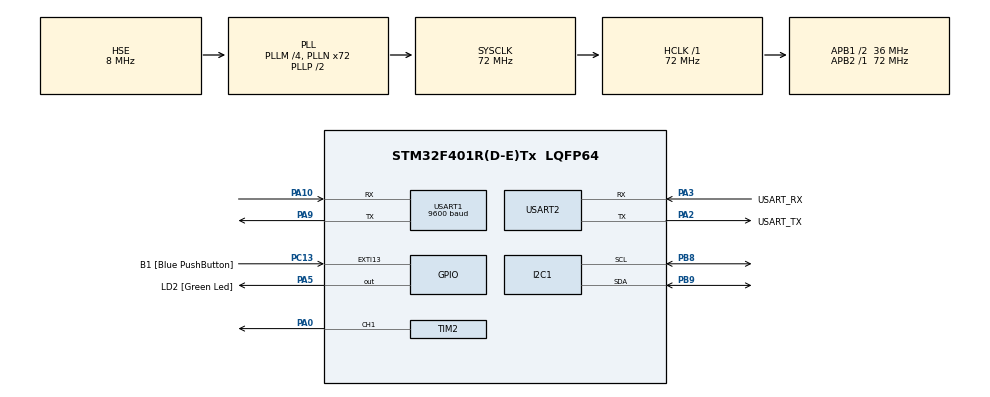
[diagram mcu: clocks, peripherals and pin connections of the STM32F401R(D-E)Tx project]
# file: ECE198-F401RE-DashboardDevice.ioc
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Mcu.Family=STM32F4
Mcu.Name=STM32F401R(D-E)Tx
Mcu.Package=LQFP64
NVIC.PriorityGroup=NVIC_PRIORITYGROUP_0
PA0-WKUP.Signal=S_TIM2_CH1_ETR
PA10.Mode=Asynchronous
PA10.Signal=USART1_RX
PA13.GPIO_Label=TMS
PA13.Mode=Serial_Wire
PA13.Signal=SYS_JTMS-SWDIO
PA14.GPIO_Label=TCK
PA14.Mode=Serial_Wire
PA14.Signal=SYS_JTCK-SWCLK
PA2.GPIO_Label=USART_TX
PA2.GPIO_Mode=GPIO_MODE_AF_PP
PA2.GPIO_PuPd=GPIO_NOPULL
PA2.GPIO_Speed=GPIO_SPEED_FREQ_LOW
PA2.Mode=Asynchronous
PA2.Signal=USART2_TX
PA3.GPIO_Label=USART_RX
PA3.GPIO_Mode=GPIO_MODE_AF_PP
PA3.GPIO_PuPd=GPIO_NOPULL
PA3.GPIO_Speed=GPIO_SPEED_FREQ_LOW
PA3.Mode=Asynchronous
PA3.Signal=USART2_RX
PA5.GPIO_Label=LD2 [Green Led]
PA5.GPIO_Mode=GPIO_MODE_OUTPUT_PP
PA5.GPIO_PuPd=GPIO_NOPULL
PA5.GPIO_Speed=GPIO_SPEED_FREQ_LOW
PA5.Signal=GPIO_Output
PA9.Mode=Asynchronous
PA9.Signal=USART1_TX
PB3.GPIO_Label=SWO
PB3.Signal=SYS_JTDO-SWO
PB8.Mode=I2C
PB8.Signal=I2C1_SCL
PB9.Mode=I2C
PB9.Signal=I2C1_SDA
PC13-ANTI_TAMP.GPIO_Label=B1 [Blue PushButton]
PC13-ANTI_TAMP.GPIO_ModeDefaultEXTI=GPIO_MODE_IT_FALLING
PC13-ANTI_TAMP.GPIO_PuPd=GPIO_NOPULL
PC13-ANTI_TAMP.Signal=GPXTI13
PC14-OSC32_IN.Mode=LSE-External-Oscillator
PC14-OSC32_IN.Signal=RCC_OSC32_IN
PC15-OSC32_OUT.Mode=LSE-External-Oscillator
PC15-OSC32_OUT.Signal=RCC_OSC32_OUT
PH0\ -\ OSC_IN.Mode=HSE-External-Oscillator
PH0\ -\ OSC_IN.Signal=RCC_OSC_IN
PH1\ -\ OSC_OUT.Mode=HSE-External-Oscillator
PH1\ -\ OSC_OUT.Signal=RCC_OSC_OUT
ProjectManager.HeapSize=0x200
ProjectManager.StackSize=0x400
ProjectManager.TargetToolchain=STM32CubeIDE
RCC.48MHZClocksFreq_Value=20571428.57142857
RCC.AHBFreq_Value=72000000
RCC.APB1CLKDivider=RCC_HCLK_DIV2
RCC.APB1Freq_Value=36000000
RCC.APB1TimFreq_Value=72000000
RCC.APB2Freq_Value=72000000
RCC.APB2TimFreq_Value=72000000
RCC.CortexFreq_Value=72000000
RCC.HCLKFreq_Value=72000000
RCC.HSE_VALUE=8000000
RCC.HSI_VALUE=16000000
RCC.PLLM=4
RCC.PLLN=72
RCC.PLLQ=7
RCC.PLLSourceVirtual=RCC_PLLSOURCE_HSE
RCC.SYSCLKFreq_VALUE=72000000
RCC.SYSCLKSource=RCC_SYSCLKSOURCE_PLLCLK
RCC.VCOOutputFreq_Value=144000000
SH.S_TIM2_CH1_ETR.0=TIM2_CH1,PWM Generation1 CH1
TIM2.AutoReloadPreload=TIM_AUTORELOAD_PRELOAD_ENABLE
TIM2.Channel-PWM\ Generation1\ CH1=TIM_CHANNEL_1
TIM2.Period=65535
TIM2.Prescaler=71
USART1.BaudRate=9600
USART1.VirtualMode=VM_ASYNC
USART2.VirtualMode=VM_ASYNC
VP_TIM2_VS_ClockSourceINT.Mode=Internal
board=NUCLEO-F401RE

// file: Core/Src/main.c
/* USER CODE BEGIN Header */
/**
  ******************************************************************************
  * @file           : main.c
  * @brief          : Main program body
  ******************************************************************************
  * @attention
  *
  * Copyright (c) 2024 STMicroelectronics.
  * All rights reserved.
  *
  * This software is licensed under terms that can be found in the LICENSE file
  * in the root directory of this software component.
  * If no LICENSE file comes with this software, it is provided AS-IS.
  *
  ******************************************************************************
  */
/* USER CODE END Header */
#include "main.h"

/* USER CODE BEGIN Includes */
#include "stdio.h"
/* USER CODE END Includes */

/* USER CODE BEGIN PTD */
// All the pins of the display mapped to their corresponding
// pin number that it's connected to on the PCF8574.
typedef enum DisplayPin {
	DISPLAY_REGISTER_SELECT = 0,
	DISPLAY_READ_WRITE = 1,
	DISPLAY_ENABLE = 2,
	DISPLAY_DB4 = 4, // DB -> Data bus line
	DISPLAY_DB5 = 5,
	DISPLAY_DB6 = 6,
	DISPLAY_DB7 = 7
} DisplayPin;

DisplayPin displayPins[] = {
	DISPLAY_REGISTER_SELECT,
	DISPLAY_READ_WRITE,
	DISPLAY_ENABLE,
	DISPLAY_DB4,
	DISPLAY_DB5,
	DISPLAY_DB6,
	DISPLAY_DB7
};

typedef enum LCDMessageType {
	LCD_MESSAGE_COMMAND,
	LCD_MESSAGE_DATA
} LCDMessageType;
/* USER CODE END PTD */

/* USER CODE BEGIN PD */
#define SLAVE_LCD_ADDRESS (0x38 << 1) // shifted 1 bit to the right since we're using 7 bit addrs
#define TURBIDITY_THRESHOLD_NTU 5
#define UART_START_BYTE 0xFF
/* USER CODE END PD */

I2C_HandleTypeDef hi2c1;

TIM_HandleTypeDef htim2;

UART_HandleTypeDef huart1;
UART_HandleTypeDef huart2;

void SystemClock_Config(void);
static void MX_GPIO_Init(void);
static void MX_USART2_UART_Init(void);
static void MX_I2C1_Init(void);
static void MX_TIM2_Init(void);
static void MX_USART1_UART_Init(void);
/* USER CODE BEGIN PFP */
uint8_t lcd_curr_pin_state = 0; // Current state of the pins for LCD

// Directly change all pins for LCD to current value of lcd_curr_pin state,
// essentially just sending this message directly to display via I2C and PCF8574
void LCD_Write();

// These functions will set/toggle/reset the provided display pin
void LCD_SetPin(DisplayPin pin);
void LCD_TogglePin(DisplayPin pin);
void LCD_ResetPin(DisplayPin pin);

// This function serve as slightly higher level abstraction that allow us
// to send commands & data to the LCD
void LCD_SendMessage(uint8_t msg, LCDMessageType type);

// Initialization functions for LCD
void LCD_WaitForReady();
void LCD_Init();

// Managing text on display
void LCD_SendString(char *str);
void LCD_SetCursor(uint8_t row, uint8_t col);
void LCD_ClearScreen();

// Buzzer control functions
static void tone(uint32_t frequency);
static void noTone();
uint8_t buzzerCurrentlyOn = 0;

// UART utility functions
uint16_t convert_uint8_to_uint16(uint8_t uint8_arr[2]);
void format_delta_time(uint16_t deltaSeconds);
// I know this seems stupid (why don't we just return a char* from the prev func?),
// but dynamic memory allocation is generally discouraged in embedded applications
// so this avoids that
char formatted_delta_time[4] = {0, 0, 0, 0};

/* USER CODE END PFP */

/* USER CODE BEGIN 0 */
uint8_t receivedDataViaUART[4];
/* USER CODE END 0 */

int main(void)
{

  /* MCU Configuration--------------------------------------------------------*/

  /* Reset of all peripherals, Initializes the Flash interface and the Systick. */
  HAL_Init();

  /* Configure the system clock */
  SystemClock_Config();

  /* Initialize all configured peripherals */
  MX_GPIO_Init();
  MX_USART2_UART_Init();
  MX_I2C1_Init();
  MX_TIM2_Init();
  MX_USART1_UART_Init();
  /* USER CODE BEGIN 2 */
  LCD_Init();
//
  LCD_SetCursor(0, 0);
  LCD_SendString("Turbidity Meter");
  LCD_SetCursor(1, 0);
  LCD_SendString("Connecting...");

  HAL_TIM_PWM_Start(&htim2, TIM_CHANNEL_1);

  receivedDataViaUART[0] = 0;
  receivedDataViaUART[1] = 0;
  receivedDataViaUART[2] = 0;
  receivedDataViaUART[3] = 0;

  /* USER CODE END 2 */

  /* Infinite loop */
  /* USER CODE BEGIN WHILE */
  uint16_t turbidityValueRaw = 0; // Value mult. by 100
  float turbidityValueNTU = 0; // Actual value, just raw val / 100 to transfer decimal # easily
  uint16_t timeSinceLastReading = 0;

  uint8_t sendTone = 0;
  uint32_t timeSinceLastTone = 0;

  char str[16];

  while (1)
  {
	uint8_t startByte = 0;

	// Wait for the start byte (0xFF)
	do {
	    HAL_UART_Receive(&huart1, &startByte, 1, 100);
	} while (startByte != UART_START_BYTE);

	// Receive the next 4 bytes
	HAL_StatusTypeDef status = HAL_UART_Receive(&huart1, receivedDataViaUART, 4, 500);

	// Do a corruption check to ensure that the start byte isn't anywhere in our actual message
	// This, of course, has some issues (what is the start byte is just a part of the data?)
	// but that edge case has already been handled in the measurement device's sender code
	uint8_t dataCorrupt = 0;
	for (int i = 0; i < 4; ++i) {
		if (receivedDataViaUART[i] == UART_START_BYTE) {
			dataCorrupt = 1;
			break;
		}
	}
	if (dataCorrupt) continue;

	// Show receiving status
	HAL_GPIO_WritePin(GPIOA, GPIO_PIN_5, status != HAL_OK);

	if (status != HAL_OK) {
	  LCD_SetCursor(0, 0);
	  LCD_SendString("Turbidity Meter");
	  LCD_SetCursor(1, 0);
	  LCD_SendString("CAN'T CONNECT!!!");

	  sendTone = 0;
	} else {
	  // Parse a uint16_t from UART, by setting first byte to first 8 bits
	  // and second byte to last 8 bits of uint16_t
	  turbidityValueRaw = convert_uint8_to_uint16(receivedDataViaUART);
	  timeSinceLastReading = convert_uint8_to_uint16(receivedDataViaUART + 2);
	  turbidityValueNTU = turbidityValueRaw / 100.0f;

	  // Get formatted version of time delta
	  format_delta_time(timeSinceLastReading);

	  // Clear out str before running string manipulations
	  for (int i = 0; i < 16; ++i) {
		  str[i] = 0;
	  }

	  sprintf(str, "%.1fNTU ?", turbidityValueNTU);
	  // Find the first null char to figure out where we can start next str
	  int startingIdx = 0;
	  for (startingIdx = 0; str[startingIdx] != '?'; startingIdx++);

	  // Append formatted_delta_time by just setting each char
	  for (int i = startingIdx; i < 16; ++i) {
		  str[i] = formatted_delta_time[i - startingIdx];
	  }

	  LCD_SetCursor(1, 0);
	  LCD_SendString(str);

	  // Alter the upper row with an alert if necessary
	  if (turbidityValueNTU > TURBIDITY_THRESHOLD_NTU) {
		  LCD_SetCursor(0, 0);
		  LCD_SendString("TURBID. TOO HIGH");

		  // Start the buzzer on/off if it hasn't already started
		  if (!sendTone) {
			  tone(2500);
			  sendTone = 1;
			  timeSinceLastTone = HAL_GetTick();
		  }
	  } else {
		  LCD_SetCursor(0, 0);
		  LCD_SendString("Turbidity Meter");

		  noTone();
		  sendTone = 0;
	  }
	}

	// Stop sending a tone if we don't want to anymore
	if (!sendTone && buzzerCurrentlyOn) {
		noTone();
	}
	// Create pulsing sound when we want to send a tone
	if (sendTone) {
		if (HAL_GetTick() - timeSinceLastTone > 500) {
			if (buzzerCurrentlyOn) noTone();
			else tone(2500);
		}
	}

    /* USER CODE END WHILE */

  }
}

void SystemClock_Config(void)
{
  RCC_OscInitTypeDef RCC_OscInitStruct = {0};
  RCC_ClkInitTypeDef RCC_ClkInitStruct = {0};

  /** Configure the main internal regulator output voltage
  */
  __HAL_RCC_PWR_CLK_ENABLE();
  __HAL_PWR_VOLTAGESCALING_CONFIG(PWR_REGULATOR_VOLTAGE_SCALE2);

  /** Initializes the RCC Oscillators according to the specified parameters
  * in the RCC_OscInitTypeDef structure.
  */
  RCC_OscInitStruct.OscillatorType = RCC_OSCILLATORTYPE_HSE;
  RCC_OscInitStruct.HSEState = RCC_HSE_ON;
  RCC_OscInitStruct.PLL.PLLState = RCC_PLL_ON;
  RCC_OscInitStruct.PLL.PLLSource = RCC_PLLSOURCE_HSE;
  RCC_OscInitStruct.PLL.PLLM = 4;
  RCC_OscInitStruct.PLL.PLLN = 72;
  RCC_OscInitStruct.PLL.PLLP = RCC_PLLP_DIV2;
  RCC_OscInitStruct.PLL.PLLQ = 7;
  if (HAL_RCC_OscConfig(&RCC_OscInitStruct) != HAL_OK)
  {
    Error_Handler();
  }

  /** Initializes the CPU, AHB and APB buses clocks
  */
  RCC_ClkInitStruct.ClockType = RCC_CLOCKTYPE_HCLK|RCC_CLOCKTYPE_SYSCLK
                              |RCC_CLOCKTYPE_PCLK1|RCC_CLOCKTYPE_PCLK2;
  RCC_ClkInitStruct.SYSCLKSource = RCC_SYSCLKSOURCE_PLLCLK;
  RCC_ClkInitStruct.AHBCLKDivider = RCC_SYSCLK_DIV1;
  RCC_ClkInitStruct.APB1CLKDivider = RCC_HCLK_DIV2;
  RCC_ClkInitStruct.APB2CLKDivider = RCC_HCLK_DIV1;

  if (HAL_RCC_ClockConfig(&RCC_ClkInitStruct, FLASH_LATENCY_2) != HAL_OK)
  {
    Error_Handler();
  }
}

static void MX_I2C1_Init(void)
{

  hi2c1.Instance = I2C1;
  hi2c1.Init.ClockSpeed = 100000;
  hi2c1.Init.DutyCycle = I2C_DUTYCYCLE_2;
  hi2c1.Init.OwnAddress1 = 0;
  hi2c1.Init.AddressingMode = I2C_ADDRESSINGMODE_7BIT;
  hi2c1.Init.DualAddressMode = I2C_DUALADDRESS_DISABLE;
  hi2c1.Init.OwnAddress2 = 0;
  hi2c1.Init.GeneralCallMode = I2C_GENERALCALL_DISABLE;
  hi2c1.Init.NoStretchMode = I2C_NOSTRETCH_DISABLE;
  if (HAL_I2C_Init(&hi2c1) != HAL_OK)
  {
    Error_Handler();
  }

}

static void MX_TIM2_Init(void)
{

  TIM_ClockConfigTypeDef sClockSourceConfig = {0};
  TIM_MasterConfigTypeDef sMasterConfig = {0};
  TIM_OC_InitTypeDef sConfigOC = {0};

  htim2.Instance = TIM2;
  htim2.Init.Prescaler = 71;
  htim2.Init.CounterMode = TIM_COUNTERMODE_UP;
  htim2.Init.Period = 65535;
  htim2.Init.ClockDivision = TIM_CLOCKDIVISION_DIV1;
  htim2.Init.AutoReloadPreload = TIM_AUTORELOAD_PRELOAD_ENABLE;
  if (HAL_TIM_Base_Init(&htim2) != HAL_OK)
  {
    Error_Handler();
  }
  sClockSourceConfig.ClockSource = TIM_CLOCKSOURCE_INTERNAL;
  if (HAL_TIM_ConfigClockSource(&htim2, &sClockSourceConfig) != HAL_OK)
  {
    Error_Handler();
  }
  if (HAL_TIM_PWM_Init(&htim2) != HAL_OK)
  {
    Error_Handler();
  }
  sMasterConfig.MasterOutputTrigger = TIM_TRGO_RESET;
  sMasterConfig.MasterSlaveMode = TIM_MASTERSLAVEMODE_DISABLE;
  if (HAL_TIMEx_MasterConfigSynchronization(&htim2, &sMasterConfig) != HAL_OK)
  {
    Error_Handler();
  }
  sConfigOC.OCMode = TIM_OCMODE_PWM1;
  sConfigOC.Pulse = 0;
  sConfigOC.OCPolarity = TIM_OCPOLARITY_HIGH;
  sConfigOC.OCFastMode = TIM_OCFAST_DISABLE;
  if (HAL_TIM_PWM_ConfigChannel(&htim2, &sConfigOC, TIM_CHANNEL_1) != HAL_OK)
  {
    Error_Handler();
  }
  HAL_TIM_MspPostInit(&htim2);

}

static void MX_USART1_UART_Init(void)
{

  huart1.Instance = USART1;
  huart1.Init.BaudRate = 9600;
  huart1.Init.WordLength = UART_WORDLENGTH_8B;
  huart1.Init.StopBits = UART_STOPBITS_1;
  huart1.Init.Parity = UART_PARITY_NONE;
  huart1.Init.Mode = UART_MODE_TX_RX;
  huart1.Init.HwFlowCtl = UART_HWCONTROL_NONE;
  huart1.Init.OverSampling = UART_OVERSAMPLING_16;
  if (HAL_UART_Init(&huart1) != HAL_OK)
  {
    Error_Handler();
  }

}

static void MX_USART2_UART_Init(void)
{

  huart2.Instance = USART2;
  huart2.Init.BaudRate = 115200;
  huart2.Init.WordLength = UART_WORDLENGTH_8B;
  huart2.Init.StopBits = UART_STOPBITS_1;
  huart2.Init.Parity = UART_PARITY_NONE;
  huart2.Init.Mode = UART_MODE_TX_RX;
  huart2.Init.HwFlowCtl = UART_HWCONTROL_NONE;
  huart2.Init.OverSampling = UART_OVERSAMPLING_16;
  if (HAL_UART_Init(&huart2) != HAL_OK)
  {
    Error_Handler();
  }

}

static void MX_GPIO_Init(void)
{
  GPIO_InitTypeDef GPIO_InitStruct = {0};

  /* GPIO Ports Clock Enable */
  __HAL_RCC_GPIOC_CLK_ENABLE();
  __HAL_RCC_GPIOH_CLK_ENABLE();
  __HAL_RCC_GPIOA_CLK_ENABLE();
  __HAL_RCC_GPIOB_CLK_ENABLE();

  /*Configure GPIO pin Output Level */
  HAL_GPIO_WritePin(LD2_GPIO_Port, LD2_Pin, GPIO_PIN_RESET);

  /*Configure GPIO pin : B1_Pin */
  GPIO_InitStruct.Pin = B1_Pin;
  GPIO_InitStruct.Mode = GPIO_MODE_IT_FALLING;
  GPIO_InitStruct.Pull = GPIO_NOPULL;
  HAL_GPIO_Init(B1_GPIO_Port, &GPIO_InitStruct);

  /*Configure GPIO pin : LD2_Pin */
  GPIO_InitStruct.Pin = LD2_Pin;
  GPIO_InitStruct.Mode = GPIO_MODE_OUTPUT_PP;
  GPIO_InitStruct.Pull = GPIO_NOPULL;
  GPIO_InitStruct.Speed = GPIO_SPEED_FREQ_LOW;
  HAL_GPIO_Init(LD2_GPIO_Port, &GPIO_InitStruct);

}

/* USER CODE BEGIN 4 */
void LCD_Write() {
	HAL_I2C_Master_Transmit(&hi2c1, SLAVE_LCD_ADDRESS, &lcd_curr_pin_state, 1, HAL_MAX_DELAY);
}

void LCD_SetPin(DisplayPin pin) {
	uint8_t pin_num = (uint8_t) pin;
	lcd_curr_pin_state |= (1 << pin_num);
	LCD_Write();
}

void LCD_TogglePin(DisplayPin pin) {
	uint8_t pin_num = (uint8_t) pin;
	lcd_curr_pin_state ^= (1 << pin_num);
	LCD_Write();
}

void LCD_ResetPin(DisplayPin pin) {
	uint8_t pin_num = (uint8_t) pin;
	lcd_curr_pin_state &= ~(1 << pin_num);
	LCD_Write();
}

void LCD_SendMessage(uint8_t msg, LCDMessageType type) {
	// Need to split the cmd into two, since we're in 4 bit mode
	// and that requires us to send an 8 bit message as two 4 bit messages.
	// Data bits are kept in first 4 bits to target the data bus lines
	uint8_t upper_bits = msg & 0b11110000;
	uint8_t lower_bits = (msg & 0b00001111) << 4;

	// RS pin is the first pin, and controls whether we're sending a command or data
	// If RS = 0, command, if RS = 1, data
	uint8_t message_type_mask = type == LCD_MESSAGE_DATA ? 0b0001 : 0b0000;

	// Start composing the message to send over I2C
	uint8_t i2c_msg[4];

	// Order follows as such: EN (Pin 2), RW (P1), RS (P0) (P4 isn't connected to anything)
	// EN = 1 (LCD will actually store cmd on falling edge of EN pin, so we need to pulse it up and back down)
	// RW = 0 (this will always be 0 since we always want to write)
	// RS = 0 or 1 (sets to command or data mode), controlled by message_type_mask
	i2c_msg[0] = upper_bits | 0b0100 | message_type_mask;

	// Same message, but we bring EN = 0 for the falling edge.
	// The OR mask does nothing, but is there for better readability.
	i2c_msg[1] = upper_bits | 0b0000 | message_type_mask;

	// We do the same thing as before but for the lower bits.
	i2c_msg[2] = lower_bits | 0b0100 | message_type_mask;
	i2c_msg[3] = lower_bits | 0b0000 | message_type_mask;

	HAL_I2C_Master_Transmit(&hi2c1, SLAVE_LCD_ADDRESS, (uint8_t*) i2c_msg, 4, 100);
	HAL_Delay(3); // All commands require a max of 1.64ms to respond, so this gives the PCF8574 and display some time
}

void LCD_WaitForReady() {
	HAL_StatusTypeDef result;
	uint32_t timeout = 60000; // ms
	uint32_t startTime = HAL_GetTick();

	// Keep checking until timeout
	do {
		result = HAL_I2C_IsDeviceReady(&hi2c1, SLAVE_LCD_ADDRESS, 3, 10);
		if (result == HAL_OK) break;
	} while ((HAL_GetTick() - startTime) < timeout);
}

void LCD_Init() {
	LCD_WaitForReady();

	// Follow the initialization sequence as set out by pg. 12 in datasheet
	// https://www.waveshare.com/datasheet/LCD_en_PDF/LCD1602.pdf

	// First, configure 4 bit data transfer
	HAL_Delay(50); // wait >15ms
	LCD_SendMessage(0b0011, LCD_MESSAGE_COMMAND); // Function set (interface is 8 bit length)

	HAL_Delay(5); // wait >4.1ms
	LCD_SendMessage(0b0011, LCD_MESSAGE_COMMAND); // Function set (interface is 8 bit length)

	HAL_Delay(1); // wait >100us
	LCD_SendMessage(0b0011, LCD_MESSAGE_COMMAND); // Function set (interface is 8 bit length)

	HAL_Delay(10); // datasheet doesn't say anything here but just wait 10ms
	LCD_SendMessage(0b0010, LCD_MESSAGE_COMMAND); // Set interface to 4 bit length

	// Second, initialize overall display
	LCD_SendMessage(0b00101000, LCD_MESSAGE_COMMAND); // Function set: DL=0 (4 bit mode), N=1 (2 lines), F=0 (5x8 chars)
	HAL_Delay(1);

	LCD_SendMessage(0b1000, LCD_MESSAGE_COMMAND); // On/off ctrl: Display = 0, Cursor = 0, Blink = 0
	HAL_Delay(1);

	LCD_ClearScreen();

	LCD_SendMessage(0b0110, LCD_MESSAGE_COMMAND); // Entry mode: I=1 & D=1 (increment cursor), S=0 (no shift)
	HAL_Delay(1);

	LCD_SendMessage(0b1100, LCD_MESSAGE_COMMAND); // On/off ctrl: D=1, C=0, B=0 (cursor & blink, last two bits)

	// Some padding time before immediately jumping to sending data
	HAL_Delay(1000);
}

void LCD_SendString(char *str) {
	// Send message for every character
	uint8_t len = 0;
	while (*str && len < 16) {
		LCD_SendMessage(*str++, LCD_MESSAGE_DATA);
		++len;
	}

	for (int i = len; i < 16; ++i) {
		LCD_SendMessage(' ', LCD_MESSAGE_DATA); // Fill rest of line with spaces
	}
}

void LCD_SetCursor(uint8_t row, uint8_t col) {
	assert_param(row < 2);
	assert_param(col < 16);

	// The original datasheet doesn't entirely specify how this works, so I will!
	// To change the position of the cursor, we need to change the address that we want to change
	// in the DDRAM, or Display Data RAM. To do that, we use the DDRAM AD SET command as specified
	// in the Waveshare datasheet (0b1xxxxxxx). However, this still doesn't explain how to set the actual row & col.
	// We can figure that out from the datasheet for the LCD controller: https://www.sparkfun.com/datasheets/LCD/HD44780.pdf
	// From pg. 11, we see that for row 1, addr is simply the row, and for row 2, we add 0x40 to the col.
	// We can just perform a bitwise OR for this since col will only ever be 4 bits.
	// As such, we just implement that below:
	uint8_t ddram_addr = col;
	if (row == 1) ddram_addr |= 0x40;

	uint8_t msg = ddram_addr | 0b10000000;
	LCD_SendMessage(msg, LCD_MESSAGE_COMMAND);
}

void LCD_ClearScreen() {
	LCD_SendMessage(0b0001, LCD_MESSAGE_COMMAND); // Clear display
	HAL_Delay(2);
}

// Buzzer functions were written with aid from the following resource:
// https://deepbluembedded.com/stm32-buzzer-piezo-active-passive-buzzer-example-code-tone/
static void tone(uint32_t freq)
{
    TIM2->ARR = (1000000UL / freq) - 1; // set PWM freq
    TIM2->CCR1 = (TIM2->ARR >> 1); // set duty cycle to 50%
    buzzerCurrentlyOn = 1;
}

static void noTone()
{
    TIM2->CCR1 = 0; // set duty cycle to 0%
    buzzerCurrentlyOn = 0;
}

uint16_t convert_uint8_to_uint16(uint8_t uint8_arr[2]) {
	uint16_t tmp = 0;
	tmp |= ((uint16_t)(uint8_arr[0])); // Lower byte first
	tmp |= ((uint16_t)(uint8_arr[1]) << 8); // Higher byte second

	return tmp;
}

void format_delta_time(uint16_t deltaSeconds) {
	// 3 characters + \0
	// 3 chars -> 2 for time, 1 for unit
	// >99 hours is unlikely, and minutes/seconds overflow to next unit at 60
	for (int i = 0; i < 4; ++i) {
		// Reset char
		formatted_delta_time[i] = '\0';
	}

	if (deltaSeconds > 3600) {
		// No point in handling over >99 hours, because seriously?
		sprintf(formatted_delta_time, "%dh", deltaSeconds / 3600);
	} else if (deltaSeconds > 60) {
		sprintf(formatted_delta_time, "%dm", deltaSeconds / 60);
	} else {
		sprintf(formatted_delta_time, "%ds", deltaSeconds);
	}
}
/* USER CODE END 4 */

void Error_Handler(void)
{
  __disable_irq();
  while (1)
  {
  }
}
